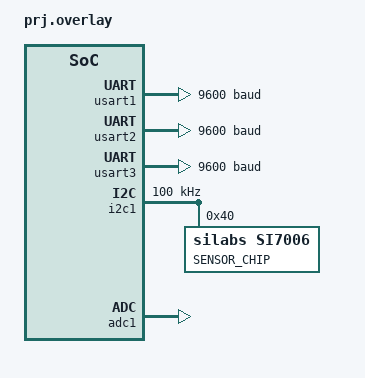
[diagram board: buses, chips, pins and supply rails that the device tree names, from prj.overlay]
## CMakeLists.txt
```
# SPDX-License-Identifier: Apache-2.0

cmake_minimum_required(VERSION 3.13.1)

# Tweak some DTS parts for purpose of the application
set(DTC_OVERLAY_FILE "${CMAKE_CURRENT_LIST_DIR}/prj.overlay")

include($ENV{ZEPHYR_BASE}/cmake/app/boilerplate.cmake NO_POLICY_SCOPE)
project(hello_world)

target_sources(app PRIVATE src/main.c)
```

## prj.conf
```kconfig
# project is running on the blue version of the board
CONFIG_BOARD_STM32_MIN_DEV_BLUE=y

# nothing here
CONFIG_GPIO=y
CONFIG_SERIAL=y

# enable UART1 and UART2

CONFIG_UART_1=y
CONFIG_UART_2=y

# for better handling RS485/Modbus data
CONFIG_UART_INTERRUPT_DRIVEN=y

# enable console

CONFIG_CONSOLE=y
CONFIG_UART_CONSOLE=y

# specify console parameters

CONFIG_UART_CONSOLE_ON_DEV_NAME="UART_2"
CONFIG_CONSOLE_INPUT_MAX_LINE_LEN=256

# enable i2c

CONFIG_I2C=y
CONFIG_I2C_1=y
CONFIG_HAS_DTS_I2C=y
CONFIG_I2C_STM32_TIMEOUT_USEC=100000

# enable sensor

CONFIG_SENSOR=y
CONFIG_SI7006=y

# enable debug logging

CONFIG_LOG=y
CONFIG_LOG_MAX_LEVEL=4
CONFIG_SENSOR_LOG_LEVEL=4
CONFIG_ADC_LOG_LEVEL=4
CONFIG_LOG_OVERRIDE_LEVEL=4
CONFIG_LOG_BACKEND_UART=y
CONFIG_LOG_BACKEND_SHOW_COLOR=n
CONFIG_LOG_IMMEDIATE=y
CONFIG_LOG_PRINTK=y
```

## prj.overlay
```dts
#include <dt-bindings/pinctrl/stm32-pinctrlf1.h>

/ {
	chosen {
		zephyr,console = &usart2;
		zephyr,shell-uart = &usart2;
	};
};

&usart1 {
	current-speed = <9600>;
	pinctrl-0 = <&usart1_pins_a>;
	pinctrl-names = "default";
	status = "okay";
};

&usart2 {
	current-speed = <9600>;
	pinctrl-0 = <&usart2_pins_a>;
	pinctrl-names = "default";
	status = "okay";
};

&usart3 {
	current-speed = <9600>;
	pinctrl-0 = <&usart3_pins_a>;
	pinctrl-names = "default";
};


/* SDA PB7, SCL PB6 */
&i2c1 {
	status = "okay";
	clock-frequency = <I2C_BITRATE_STANDARD>;
	si7006: si7006@40 {
		compatible = "silabs,si7006";
		reg = <0x40>;
		status = "okay";
		label = "SENSOR_CHIP";
	};
};

&adc1 {
	status = "okay";
};
```

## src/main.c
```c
/*
 * Copyright (c) 2012-2014 Wind River Systems, Inc.
 *
 * SPDX-License-Identifier: Apache-2.0
 */

#include <zephyr.h>
#include <device.h>
#include <sensor.h>
#include <stdio.h>
#include <gpio.h>
#include <misc/printk.h>
#include <assert.h>
#include <uart.h>
#include <string.h>
#include <sys/types.h>
#include <stdlib.h>
#include <i2c.h>
#include <logging/log.h>

#define MODBUS_BAT_SLAVE_ADDRESS 		42

/* Test registers, used in this BAT */
enum modbus_regs
{
	MODBUS_BAT_INPUT_REG_FIRST		= 1000,
	MODBUS_BAT_INPUT_REG_TEMP_HIGH		= MODBUS_BAT_INPUT_REG_FIRST,
	MODBUS_BAT_INPUT_REG_TEMP_LOW,
	MODBUS_BAT_INPUT_REG_HUMID_HIGH,
	MODBUS_BAT_INPUT_REG_HUMID_LOW,
	MODBUS_BAT_INPUT_REG_PRESSURE_HIGH,
	MODBUS_BAT_INPUT_REG_PRESSURE_LOW,
	MODBUS_BAT_INPUT_REG_LAST		= MODBUS_BAT_INPUT_REG_PRESSURE_LOW,
};

/* Test functions, used in this BAT */
enum modbus_fn
{
/* Not supported (yet)
	MODBUS_FN_READ_COIL			= 0x1,
	MODBUS_FN_READ_INPUT_STATUS		= 0x2,
	MODBUS_FN_READ_INPUT_REG		= 0x4,
*/
	MODBUS_FN_READ_HOLDING_REG		= 0x3,
};

enum modbus_state
{
	MODBUS_EMPTY,
	MODBUS_WAIT_CR,
	MODBUS_WAIT_LF,
	MODBUS_COMPLETE,
};

struct modbus_frame
{
	u8_t data[256];
	u8_t cnt;
	enum modbus_state state;
};

struct modbus_data
{
	u8_t addr;
	u8_t fn;
	uint16_t obj_addr;
	uint16_t qty;
	u8_t crc;
	bool complete;
};

static uint32_t hexchunk_toul(const char *start, size_t qty)
{
	char buf[qty + 1];
	memcpy(buf, start, qty);
	buf[qty] = 0;

	return strtol(buf, NULL, 16);
}

/* TODO: ugly */
static u8_t modbus_lrc(const u8_t *data, size_t sz)
{
	u8_t lrc = 0;

	for (size_t i = 0; i < sz; i += 2) {
		lrc += hexchunk_toul(&data[i], 2);
	}

	return (u8_t)(-lrc);
}

static int modbus_process_raw_frame(struct modbus_frame *buf, struct modbus_data *out)
{
	assert(out != NULL);
	assert(buf != NULL);

	if (buf->cnt != 14) {
		printf("frames with length %d are not supported yet\n", buf->cnt);
		return -1;
	}

	u8_t crc;
	u8_t calc_crc;

	/* TODO: better error check */

	out->addr 	= hexchunk_toul(&buf->data[0], 2);
	out->fn 	= hexchunk_toul(&buf->data[2], 2);
	out->obj_addr 	= hexchunk_toul(&buf->data[4], 4);
	out->qty 	= hexchunk_toul(&buf->data[8], 4);
	crc 		= hexchunk_toul(&buf->data[12], 2);

	if (out->addr != 42) {
		printf("not supported slave address %d\n", out->addr);
		return -1;
	}

	if (out->obj_addr != MODBUS_BAT_INPUT_REG_FIRST) {
		printf("reading regs starting from %d is not implemented\n", out->obj_addr);
		return -1;
	}

	if (out->qty != (MODBUS_BAT_INPUT_REG_LAST - MODBUS_BAT_INPUT_REG_FIRST + 1)) {
		printf("reading regs of range: %d not implmented\n", out->qty);
		return -1;
	}

	/* Exclude crc byte at the end of the packet */
	calc_crc = modbus_lrc(buf->data, buf->cnt - 2);

	if (calc_crc != crc) {
		printf("crc failed. expect: %#x, actual: %#x\n", calc_crc, crc);
	}

	return 0;
}

/**
 * \return Number of bytes processed.
 * \retval 0 Parsing already complete.
 * \retval -1 Invalid frame detected.
 */
static ssize_t modbus_process_raw_data(struct modbus_frame *buf, struct modbus_data *out, const u8_t *new_data, size_t new_data_sz)
{
	assert(buf != NULL);
	assert(out != NULL);
	assert(new_data != NULL);

	printf("buf state: %d %d\n", buf->cnt, buf->state);

	size_t bytes_processed = 0;
	for (; bytes_processed < new_data_sz; ++bytes_processed) {
		u8_t data_byte = new_data[bytes_processed];

		/* Check that buffer is in valid state */
		if (buf->cnt == sizeof(buf->data) - 1) {
			printf("overflow detected\n");
			buf->cnt = 0;
			buf->state = MODBUS_EMPTY;
			continue;
		}

		/* Detect frame start; if detected - should re-init parser at any state */
		if (data_byte == ':') {
			printf("frame start detected\n");
			buf->state = MODBUS_WAIT_CR;
			buf->cnt = 0;
			out->complete = false;
			continue;
		}

		switch (buf->state) {
		case MODBUS_EMPTY:
			printf("skipping data, not yet found a frame start\n");
			break;
		case MODBUS_WAIT_CR:
			/* Check allowed set of symbols */
			if ((data_byte < '0' || data_byte > '9')
					&& (data_byte < 'A' || data_byte > 'F')
					&& data_byte != '\r') {
				printf("invalid symbol detected\n");
				buf->state = MODBUS_EMPTY;
				buf->cnt = 0;
				continue;
			}

			if (data_byte == '\r') {
				printf("CR detected\n");
				buf->state = MODBUS_WAIT_LF;
				continue;
			}

			/* Only state where appending symbols is allowed */
			buf->data[buf->cnt++] = data_byte;
			break;
		case MODBUS_WAIT_LF:
			if (data_byte == '\n') {
				printf("LF detected\n");
				buf->state = MODBUS_COMPLETE;
				printf("data recv: %*s\n", buf->cnt, buf->data);

				if (modbus_process_raw_frame(buf, out) < 0) {
					/* Parsing failed, but invalid and old data can be discarded */
					buf->cnt = 0;
					return -1;
				}

				/* Parsing complete */
				buf->cnt = 0;
				out->complete = true;
				return bytes_processed;
			} else {
				printf("invalid symbol detected while waiting for LF\n");
				buf->state = MODBUS_EMPTY;
				buf->cnt = 0;
			}
			continue;
		case MODBUS_COMPLETE:
			printf("complete frame, no more symbols required\n");
			continue;
			break;
		default:
			printf("invalid state: %d\n", buf->state);
			continue;
			break;
		}
	}

	/* Need more data */
	return bytes_processed;
}

struct drv_ctx
{
	struct device *dev;
	struct device *gpio_dev;
	struct drv_buf {
		u8_t data[256];
		u8_t cnt;
	} buf;
	struct drv_tx_buf {
		u8_t buf[256];
		size_t sz;
		size_t cur;
	} tx_buf;
};

static void uart1_irq_cb(void *user_data)
{
	struct drv_ctx *ctx = user_data;

	uart_irq_update(ctx->dev);

	if (uart_irq_rx_ready(ctx->dev)) {
		int read = uart_fifo_read(ctx->dev, ctx->buf.data + ctx->buf.cnt,
			ARRAY_SIZE(ctx->buf.data) - ctx->buf.cnt);
		ctx->buf.cnt += read;
	}

	/* Check for End-of-TX */
	if (ctx->tx_buf.cur == ctx->tx_buf.sz) {
		ctx->tx_buf.cur = 0;
		ctx->tx_buf.sz = 0;
		uart_irq_tx_disable(ctx->dev);
		/* Enable RS485 RX line and disable TX */
		gpio_pin_write(ctx->gpio_dev, 5, 0);
	}

	if (uart_irq_tx_ready(ctx->dev)
			&& ctx->tx_buf.sz != 0
			&& ctx->tx_buf.cur < ctx->tx_buf.sz) {
		int written = uart_fifo_fill(ctx->dev, &ctx->tx_buf.buf[ctx->tx_buf.cur], 1);
		ctx->tx_buf.cur += written;
	}
}

static struct drv_ctx modbus_ctx;
static struct drv_buf modbus_safe_data;

void main(void)
{
	struct device *sensor_dev = device_get_binding("SENSOR_CHIP");
	struct device *rs485_dev = device_get_binding("UART_1");
	struct device *gpioa = device_get_binding("GPIOA");

	modbus_ctx.dev = rs485_dev;
	modbus_ctx.gpio_dev = gpioa;

	int rc;

	printk("Hello World! %s\n", CONFIG_BOARD);
	printk("Starting BAT test for Happy Snail RH/T subproject\n");

	if (sensor_dev == NULL) {
		printf("could not get SI7006 device\n");
		return;
	}

	if (gpioa == NULL) {
		printf("could not get GPIOA device\n");
		return;
	}

	if (rs485_dev == NULL) {
		printf("could not get RS485 device\n");
		return;
	}

	rc = gpio_pin_configure(gpioa, 5, GPIO_DIR_OUT);
	if (rc < 0) {
		printf("failed to configure GPIO pin\n");
	}

	printf("sensor_dev %p name %s\n", sensor_dev, sensor_dev->config->name);

	struct uart_config uart1_cfg = {
		.baudrate	= 9600,
		.parity		= UART_CFG_PARITY_NONE,
		.stop_bits	= UART_CFG_STOP_BITS_1,
		.data_bits	= UART_CFG_DATA_BITS_8,
		.flow_ctrl	= UART_CFG_FLOW_CTRL_NONE
	};

	rc = uart_configure(rs485_dev, &uart1_cfg);
	if (rc < 0) {
		printf("failed to configure uart1: %d\n", rc);
		goto err;
	}

	uart_irq_callback_user_data_set(rs485_dev, uart1_irq_cb, &modbus_ctx);

	uart_irq_rx_enable(rs485_dev);

	struct modbus_frame frame = {0};
	struct modbus_data modbus_parsed = {0};

	/* Enable RS485 RX line and disable TX */
	gpio_pin_write(gpioa, 5, 0);

	while (1) {
		k_cpu_idle();

		irq_disable(DT_USART_1_IRQ);
		memcpy(&modbus_safe_data, &modbus_ctx.buf, sizeof(modbus_safe_data));
		modbus_ctx.buf.cnt = 0;
		irq_enable(DT_USART_1_IRQ);

		if (modbus_safe_data.cnt > 0) {
			printf("> data %d: %*s\n", (int)modbus_safe_data.cnt, modbus_safe_data.cnt, modbus_safe_data.data);
			size_t read = modbus_process_raw_data(&frame, &modbus_parsed, modbus_safe_data.data, modbus_safe_data.cnt);
			printf("> modbus processed: %d\n", read);
			if (modbus_parsed.complete) {
				struct sensor_value temp = {0};
				struct sensor_value humidity = {0};
				struct sensor_value press = {0};

				sensor_sample_fetch(sensor_dev);
				sensor_channel_get(sensor_dev, SENSOR_CHAN_AMBIENT_TEMP, &temp);
				sensor_channel_get(sensor_dev, SENSOR_CHAN_HUMIDITY, &humidity);

				printf("temp: %d.%06d; press: %d.%06d; humidity: %d.%06d\n",
					temp.val1, temp.val2, press.val1, press.val2,
					humidity.val1, humidity.val2);

				bool retry = true;
				do {
					irq_disable(DT_USART_1_IRQ);
					if (modbus_ctx.tx_buf.sz == 0) {
						/* TODO: ugly */
						int n = snprintf(modbus_ctx.tx_buf.buf, sizeof(modbus_ctx.tx_buf.buf),
							":%02X%02X%02X%04X%04X%04X%04X%04X%04X",
							MODBUS_BAT_SLAVE_ADDRESS, MODBUS_FN_READ_HOLDING_REG,
							12, /* Total bytes to be transmitted */
							(s16_t)temp.val1, 	(s16_t)(temp.val2 / 10000), /* Convert 10^-6 fixed-point value to 10^-2 */
							(s16_t)press.val1,	(s16_t)(press.val2 / 10000), /* Convert 10^-6 fixed-point value to 10^-2 */
							(s16_t)humidity.val1,	(s16_t)(humidity.val2 / 10000) /* Convert 10^-6 fixed-point value to 10^-2 */
						);

						/* TODO: ugly */

						u8_t crc = modbus_lrc(modbus_ctx.tx_buf.buf + 1, n - 1);
						n += snprintf(modbus_ctx.tx_buf.buf + n, sizeof(modbus_ctx.tx_buf.buf) - n,
							"%02X\r\n", crc);
						modbus_ctx.tx_buf.sz = n;
						printf("> sending: %*s\n", modbus_ctx.tx_buf.sz, modbus_ctx.tx_buf.buf);
						retry = false;
					}

					irq_enable(DT_USART_1_IRQ);
					k_sleep(100);
				} while (retry);

				/* Enable RX line and disable TX */
				gpio_pin_write(gpioa, 5, 1);

				/* Rest of processing will occur in ISR routine */
				uart_irq_tx_enable(rs485_dev);

				retry = true;
				do {
					irq_disable(DT_USART_1_IRQ);
					retry = (modbus_ctx.tx_buf.sz != 0);
					irq_enable(DT_USART_1_IRQ);
					k_sleep(100);
				} while (retry);

				printf("response sent\n");
				/* Done with sending this response, try next one */
				modbus_parsed.complete = false;
			}

			modbus_safe_data.cnt -= read;
		}
	}

	return;
err:
	printf("failed to run BAT\n");
}
```
